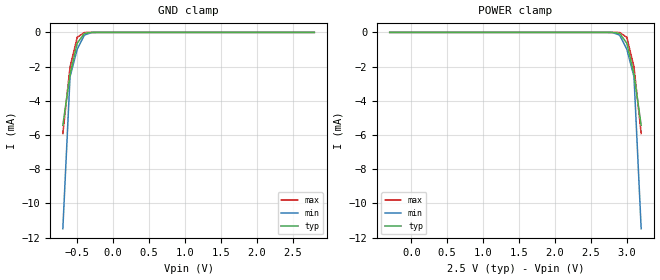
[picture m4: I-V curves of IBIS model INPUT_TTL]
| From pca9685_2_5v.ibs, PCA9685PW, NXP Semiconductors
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[Model]   INPUT_TTL
Model_type Input
Vinh=1.75
Vinl=0.75
C_comp   1.2p   1p   1.3p
[Temperature Range] 27   85   -40
[Voltage Range]   2.5   2.2   2.8
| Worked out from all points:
|   GND clamp passes 1 mA (typ) near -0.52 V on its own axis
[GND Clamp]
-700mV    -5.433mA   -11.48mA   -5.912mA
-600mV    -2.458mA   -2.591mA   -2.031mA
-500mV    -633.5uA   -979uA     -284.5uA
-400mV    -54.46uA   -156.3uA   -8.32uA
-300mV    -1.516uA   -7.654uA   -93.07nA
-200mV    -27.2nA    -199.3nA   -811.1pA
2.8V      71.63pA    230.4pA    57.24pA
[POWER Clamp]
-300mV    71.63pA    230.4pA    57.24pA
2.7V      -27.2nA    -199.3nA   -811.1pA
2.8V      -1.516uA   -7.654uA   -93.07nA
2.9V      -54.46uA   -156.3uA   -8.32uA
3V        -633.5uA   -979uA     -284.5uA
3.1V      -2.458mA   -2.591mA   -2.031mA
3.2V      -5.433mA   -11.48mA   -5.912mA
